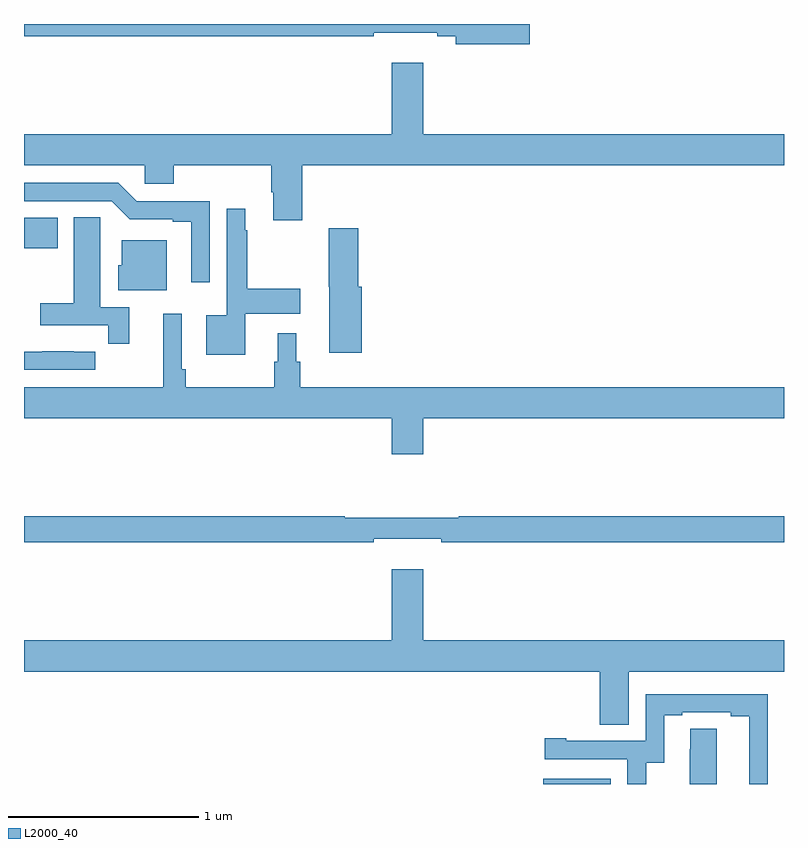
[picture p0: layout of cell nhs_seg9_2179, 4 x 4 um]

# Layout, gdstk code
import gdstk
lib = gdstk.Library(unit=1e-6, precision=1e-09)
def R(c, l, rs):  # rectangles x0, y0, x1, y1
    for r in rs: c.add(gdstk.rectangle(r[:2], r[2:], *l))
def P(c, l, *ps):  # polygons
    for p in ps: c.add(gdstk.Polygon(p, *l))
L2000_40 = (2000, 40)

nhs_seg9_2179 = lib.new_cell('nhs_seg9_2179')
R(nhs_seg9_2179, L2000_40, [(237.734,1190.5,238.087,1190.527), (235,1193.32,235.177,1193.479)])
P(nhs_seg9_2179, L2000_40, [(237.661,1194.5),(235,1194.5),(235,1194.436),(236.84,1194.436),(236.84,1194.455),(237.176,1194.455),(237.176,1194.436),(237.272,1194.436),(237.272,1194.394),(237.661,1194.394)],
  [(236.465,1193.756),(239,1193.756),(239,1193.92),(237.1,1193.92),(237.1,1194.295),(236.936,1194.295),(236.936,1193.92),(235,1193.92),(235,1193.756),(235.635,1193.756),(235.635,1193.658),(235.787,1193.658),(235.787,1193.756),(236.3,1193.756),(236.3,1193.614),(236.312,1193.614),(236.312,1193.466),(236.465,1193.466)],
  [(235.977,1193.568),(235.593,1193.568),(235.497,1193.664),(235,1193.664),(235,1193.568),(235.461,1193.568),(235.557,1193.472),(235.784,1193.472),(235.784,1193.46),(235.88,1193.46),(235.88,1193.142),(235.977,1193.142)],
  [(236.164,1192.976),(236.455,1192.976),(236.455,1193.106),(236.176,1193.106),(236.176,1193.414),(236.164,1193.414),(236.164,1193.527),(236.067,1193.527),(236.067,1192.966),(235.958,1192.966),(235.958,1192.76),(236.164,1192.76)],
  [(235.553,1193.01),(235.402,1193.01),(235.402,1193.372),(235.401,1193.372),(235.401,1193.483),(235.262,1193.483),(235.262,1193.031),(235.085,1193.031),(235.085,1192.914),(235.444,1192.914),(235.444,1192.818),(235.553,1192.818)],
  [(236.777,1193.118),(236.759,1193.118),(236.759,1193.425),(236.605,1193.425),(236.605,1193.118),(236.606,1193.118),(236.606,1192.77),(236.777,1192.77)],
  [(235.75,1193.362),(235.514,1193.362),(235.514,1193.229),(235.496,1193.229),(235.496,1193.099),(235.75,1193.099)],
  [(237.1,1192.424),(239,1192.424),(239,1192.588),(236.453,1192.588),(236.453,1192.722),(236.434,1192.722),(236.434,1192.873),(236.336,1192.873),(236.336,1192.722),(236.317,1192.722),(236.317,1192.588),(235.85,1192.588),(235.85,1192.684),(235.83,1192.684),(235.83,1192.975),(235.733,1192.975),(235.733,1192.588),(235,1192.588),(235,1192.424),(236.936,1192.424),(236.936,1192.236),(237.1,1192.236)],
  [(235.375,1192.776),(235.262,1192.776),(235.262,1192.777),(235.096,1192.777),(235.096,1192.776),(235,1192.776),(235,1192.68),(235.375,1192.68)],
  [(236.84,1191.791),(237.196,1191.791),(237.196,1191.772),(239,1191.772),(239,1191.908),(237.287,1191.908),(237.287,1191.901),(236.687,1191.901),(236.687,1191.908),(235,1191.908),(235,1191.772),(236.84,1191.772)],
  [(238.183,1191.092),(239,1191.092),(239,1191.256),(237.1,1191.256),(237.1,1191.631),(236.936,1191.631),(236.936,1191.256),(235,1191.256),(235,1191.092),(238.031,1191.092),(238.031,1190.812),(238.183,1190.812)],
  [(238.275,1190.611),(238.369,1190.611),(238.369,1190.862),(238.465,1190.862),(238.465,1190.877),(238.721,1190.877),(238.721,1190.857),(238.817,1190.857),(238.817,1190.5),(238.914,1190.5),(238.914,1190.973),(238.272,1190.973),(238.272,1190.727),(237.853,1190.727),(237.853,1190.74),(237.741,1190.74),(237.741,1190.631),(238.176,1190.631),(238.176,1190.5),(238.275,1190.5)],
  [(238.645,1190.792),(238.506,1190.792),(238.506,1190.684),(238.505,1190.684),(238.505,1190.5),(238.645,1190.5)])

lib.write_gds('nhs_seg9_2179.gds')
